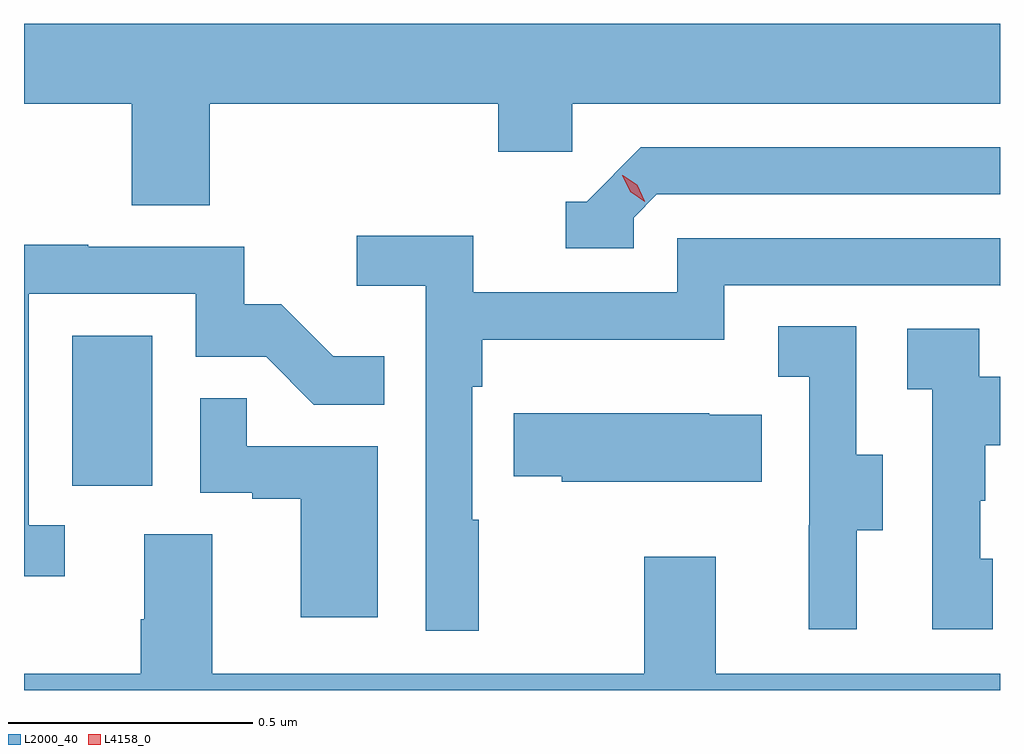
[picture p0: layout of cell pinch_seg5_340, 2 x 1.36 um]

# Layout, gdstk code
import gdstk
lib = gdstk.Library(unit=1e-6, precision=1e-09)
def R(c, l, rs):  # rectangles x0, y0, x1, y1
    for r in rs: c.add(gdstk.rectangle(r[:2], r[2:], *l))
def P(c, l, *ps):  # polygons
    for p in ps: c.add(gdstk.Polygon(p, *l))
L2000_40 = (2000, 40)
L4158_0 = (4158, 0)

pinch_seg5_340 = lib.new_cell('pinch_seg5_340')
R(pinch_seg5_340, L2000_40, [(934.994,883.95,935.158,884.257)])
P(pinch_seg5_340, L2000_40, [(935.276,884.732),(935.867,884.732),(935.867,884.634),(936.018,884.634),(936.018,884.732),(936.895,884.732),(936.895,884.896),(934.895,884.896),(934.895,884.732),(935.116,884.732),(935.116,884.524),(935.276,884.524)],
  [(936.144,884.499),(936.192,884.547),(936.895,884.547),(936.895,884.643),(936.159,884.643),(936.048,884.532),(936.005,884.532),(936.005,884.436),(936.144,884.436)],
  [(935.827,883.88),(935.814,883.88),(935.814,884.153),(935.834,884.153),(935.834,884.249),(936.33,884.249),(936.33,884.361),(936.894,884.361),(936.895,884.36),(936.895,884.457),(936.234,884.457),(936.234,884.346),(935.816,884.346),(935.816,884.462),(935.577,884.462),(935.577,884.36),(935.718,884.36),(935.718,883.653),(935.827,883.653)],
  [(934.978,883.869),(934.905,883.869),(934.905,884.343),(935.247,884.343),(935.247,884.214),(935.391,884.214),(935.489,884.116),(935.633,884.116),(935.633,884.215),(935.529,884.215),(935.422,884.322),(935.346,884.322),(935.346,884.439),(935.027,884.439),(935.027,884.444),(934.895,884.444),(934.895,883.764),(934.978,883.764)],
  [(936.601,883.858),(936.655,883.858),(936.655,884.013),(936.6,884.013),(936.6,884.276),(936.441,884.276),(936.441,884.173),(936.504,884.173),(936.504,883.869),(936.503,883.869),(936.503,883.656),(936.601,883.656)],
  [(936.88,883.8),(936.855,883.8),(936.855,883.919),(936.865,883.919),(936.865,884.033),(936.895,884.033),(936.895,884.173),(936.852,884.173),(936.852,884.271),(936.705,884.271),(936.705,884.147),(936.756,884.147),(936.756,883.656),(936.88,883.656)],
  [(935.62,884.031),(935.351,884.031),(935.351,884.129),(935.256,884.129),(935.256,883.935),(935.363,883.935),(935.363,883.923),(935.462,883.923),(935.462,883.68),(935.62,883.68)],
  [(936.407,884.095),(936.299,884.095),(936.299,884.098),(935.899,884.098),(935.899,883.969),(935.997,883.969),(935.997,883.958),(936.407,883.958)],
  [(936.895,883.564),(936.313,883.564),(936.313,883.804),(936.166,883.804),(936.166,883.564),(935.281,883.564),(935.281,883.85),(935.141,883.85),(935.141,883.676),(935.134,883.676),(935.134,883.564),(934.895,883.564),(934.895,883.531),(936.895,883.531)])
P(pinch_seg5_340, L4158_0, [(936.167,884.532),(936.137,884.552),(936.121,884.585),(936.121,884.586),(936.122,884.586),(936.152,884.566),(936.167,884.533),(936.167,884.532)])

lib.write_gds('pinch_seg5_340.gds')
